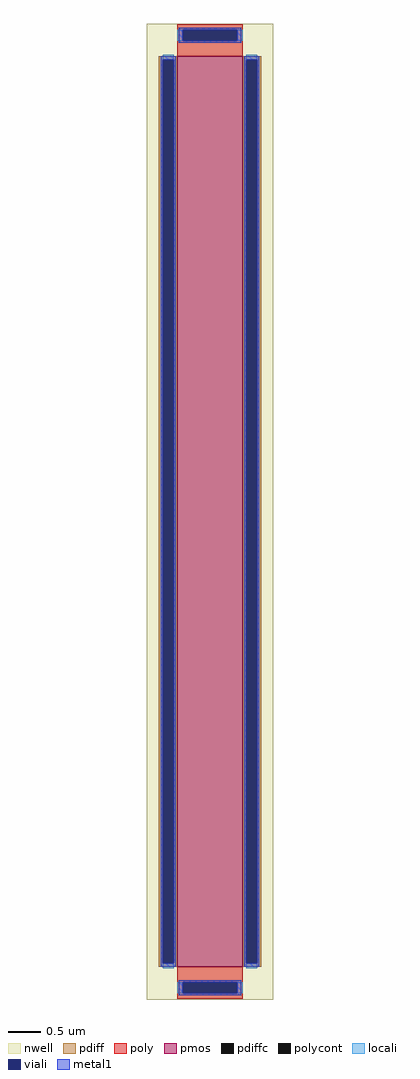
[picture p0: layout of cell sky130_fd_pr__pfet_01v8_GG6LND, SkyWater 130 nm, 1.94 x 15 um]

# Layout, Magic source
magic
tech sky130A
magscale 1 2
<< nwell >>
rect -194 -1500 194 1500
<< pmos >>
rect -100 -1400 100 1400
<< pdiff >>
rect -158 1388 -100 1400
rect -158 -1388 -146 1388
rect -112 -1388 -100 1388
rect -158 -1400 -100 -1388
rect 100 1388 158 1400
rect 100 -1388 112 1388
rect 146 -1388 158 1388
rect 100 -1400 158 -1388
<< pdiffc >>
rect -146 -1388 -112 1388
rect 112 -1388 146 1388
<< poly >>
rect -100 1481 100 1497
rect -100 1447 -84 1481
rect 84 1447 100 1481
rect -100 1400 100 1447
rect -100 -1447 100 -1400
rect -100 -1481 -84 -1447
rect 84 -1481 100 -1447
rect -100 -1497 100 -1481
<< polycont >>
rect -84 1447 84 1481
rect -84 -1481 84 -1447
<< locali >>
rect -100 1447 -84 1481
rect 84 1447 100 1481
rect -146 1388 -112 1404
rect -146 -1404 -112 -1388
rect 112 1388 146 1404
rect 112 -1404 146 -1388
rect -100 -1481 -84 -1447
rect 84 -1481 100 -1447
<< viali >>
rect -84 1447 84 1481
rect -146 -1388 -112 1388
rect 112 -1388 146 1388
rect -84 -1481 84 -1447
<< metal1 >>
rect -96 1481 96 1487
rect -96 1447 -84 1481
rect 84 1447 96 1481
rect -96 1441 96 1447
rect -152 1388 -106 1400
rect -152 -1388 -146 1388
rect -112 -1388 -106 1388
rect -152 -1400 -106 -1388
rect 106 1388 152 1400
rect 106 -1388 112 1388
rect 146 -1388 152 1388
rect 106 -1400 152 -1388
rect -96 -1447 96 -1441
rect -96 -1481 -84 -1447
rect 84 -1481 96 -1447
rect -96 -1487 96 -1481
<< properties >>
string gencell sky130_fd_pr__pfet_01v8
string library sky130
string parameters w 14.0 l 1.0 m 1 nf 1 diffcov 100 polycov 100 guard 0 glc 1 grc 1 gtc 1 gbc 1 tbcov 100 rlcov 100 topc 1 botc 1 poverlap 0 doverlap 1 lmin 0.15 wmin 0.42 compatible {sky130_fd_pr__pfet_01v8  sky130_fd_pr__pfet_01v8_lvt sky130_fd_pr__pfet_01v8_hvt  sky130_fd_pr__pfet_g5v0d10v5} full_metal 1 viasrc 100 viadrn 100 viagate 100 viagb 0 viagr 0 viagl 0 viagt 0
<< end >>
